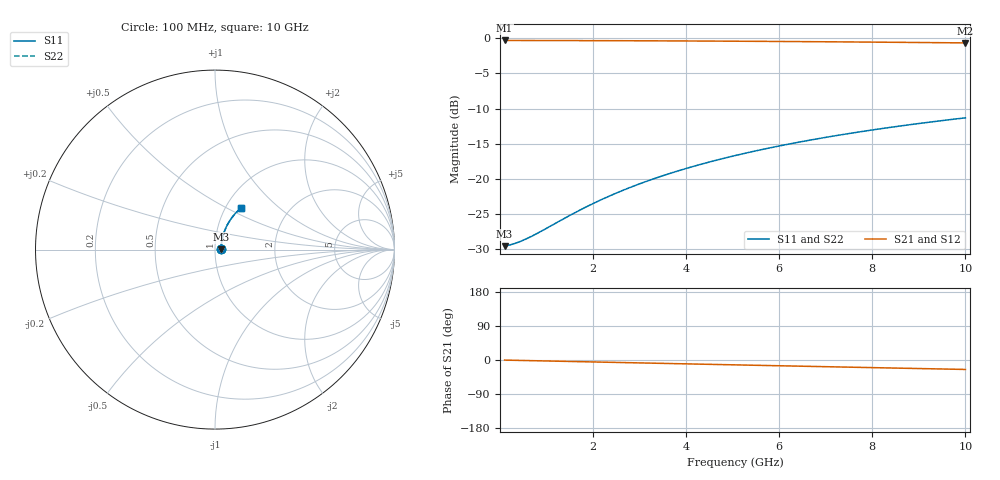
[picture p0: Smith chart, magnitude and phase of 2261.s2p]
# Hz S RI R 50.00
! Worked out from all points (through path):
!   100 points, 100 MHz to 10 GHz, reference 50 ohm
!   highest |S21| = -0.29 dB at 100 MHz (marker M1); lowest = -0.6 dB at 10 GHz (marker M2)
!   group delay of S21, straight-line fit = 6.93 ps
!   lowest |S11| = -29.6 dB at 100 MHz (marker M3), VSWR 1.07, Z = 53.4 + j0.29 ohm
!   |S11| at or under -10 dB: start of sweep to end of sweep
!   |S22| runs from -29.6 to -11.3 dB; largest |S21 - S12| = 0
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1e8  0.033 0.00271  0.967 -0.00432  0.967 -0.00432  0.033 0.00271
2e8  0.0332 0.00543  0.9668 -0.00864  0.9668 -0.00864  0.0332 0.00543
3e8  0.0334 0.00814  0.9666 -0.013  0.9666 -0.013  0.0334 0.00814
4e8  0.0336 0.0108  0.9663 -0.0173  0.9663 -0.0173  0.0336 0.0108
6e8  0.0341 0.0162  0.9659 -0.0259  0.9659 -0.0259  0.0341 0.0162
8e8  0.0346 0.0216  0.9653 -0.0345  0.9653 -0.0345  0.0346 0.0216
1.5e9  0.0369 0.0404  0.9628 -0.0645  0.9628 -0.0645  0.0369 0.0404
1.8e9  0.0383 0.0484  0.9613 -0.0773  0.9613 -0.0773  0.0383 0.0484
2.2e9  0.0403 0.059  0.959 -0.0943  0.959 -0.0943  0.0403 0.059
2.6e9  0.0428 0.0695  0.9563 -0.1113  0.9563 -0.1113  0.0428 0.0695
3e9  0.0456 0.0799  0.9532 -0.1281  0.9532 -0.1281  0.0456 0.0799
3.4e9  0.0487 0.0901  0.9497 -0.1448  0.9497 -0.1448  0.0487 0.0901
3.8e9  0.0522 0.1003  0.9459 -0.1613  0.9459 -0.1613  0.0522 0.1003
4.2e9  0.056 0.1102  0.9416 -0.1777  0.9416 -0.1777  0.056 0.1102
4.6e9  0.0602 0.12  0.937 -0.1939  0.937 -0.1939  0.0602 0.12
5.1e9  0.0659 0.132  0.9307 -0.214  0.9307 -0.214  0.0659 0.132
5.9e9  0.0759 0.1505  0.9194 -0.2454  0.9194 -0.2454  0.0759 0.1505
6.7e9  0.0872 0.1682  0.9068 -0.2759  0.9068 -0.2759  0.0872 0.1682
7.5e9  0.0996 0.1849  0.8929 -0.3056  0.8929 -0.3056  0.0996 0.1849
8.4e9  0.1147 0.2025  0.8759 -0.3377  0.8759 -0.3377  0.1147 0.2025
9.2e9  0.129 0.2169  0.8596 -0.3651  0.8596 -0.3651  0.129 0.2169
1e10  0.1442 0.2302  0.8424 -0.3914  0.8424 -0.3914  0.1442 0.2302
